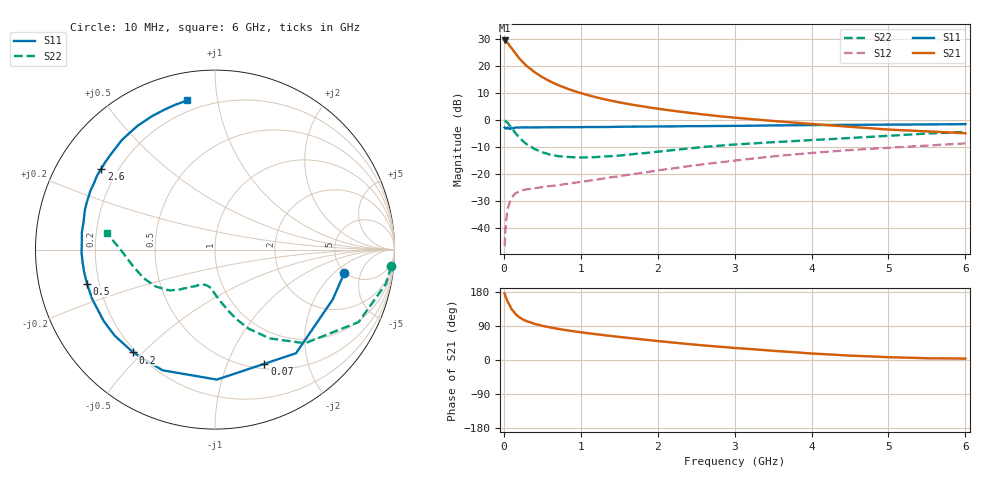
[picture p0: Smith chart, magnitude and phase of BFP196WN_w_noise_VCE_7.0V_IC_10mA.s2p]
! Infineon Technologies  Discrete & RF Semiconductors
! BFP196WN
! VCE =  7.0 V,  IC =  10 mA
! Common Emitter S-Parameters:  Jan 2017
# GHz  S  MA  R  50
!  f  S11  S21  S12  S22
! GHz  MAG  ANG  MAG  ANG  MAG  ANG  MAG  ANG
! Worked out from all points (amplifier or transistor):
!   77 points, 10 MHz to 6 GHz, reference 50 ohm
!   highest |S21| = 29.6 dB at 10 MHz (marker M1)
!   |S21| within 3 dB of that: start of sweep to 104.4 MHz
!   unconditionally stable (mu >= 1): 1.152 GHz to 2.62 GHz
!   at 130 MHz: K = 0.19, MSG = 26.7 dB, |S12| = -27.8 dB
!   at 2.2 GHz: K = 1.05, MAG = 9.3 dB, |S12| = -17.9 dB
!   at 6 GHz: K = 0.86, MSG = 1.9 dB, |S12| = -8.6 dB
!   lowest NFmin = 0.92 dB at 450 MHz
!   S11 on the Smith chart (normalised r, x): 10 MHz: 4.84, -2.75; 70 MHz: 0.56, -1.37; 200 MHz: 0.19, -0.47; 500 MHz: 0.15, -0.13; 2.6 GHz: 0.14, +0.31; 6 GHz: 0.14, +0.82
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0.01  0.7318 -10.4  30.22 175.3  0.0046 82.3  0.9866 -5.4
0.02  0.7123 -23.0  29.2 168.8  0.009 79.4  0.9713 -11.3
0.05  0.733 -52.0  27.3 153.5  0.0229 64.4  0.8962 -26.8
0.07  0.6931 -66.6  24.78 146.8  0.028 57.7  0.8166 -33.5
0.1  0.7243 -89.2  21.82 134.2  0.0362 51.4  0.7239 -46.1
0.15  0.7333 -113.5  17.44 121.6  0.044 41.7  0.5796 -58.5
0.2  0.7323 -128.5  14.11 113.0  0.0472 37.0  0.4781 -67.0
0.25  0.7364 -139.4  11.79 106.8  0.0504 34.5  0.4086 -72.6
0.3  0.7369 -147.2  10.08 102.2  0.0522 33.0  0.3553 -77.1
0.4  0.7374 -157.9  7.771 95.2  0.0549 33.1  0.2921 -83.8
0.5  0.7381 -165.1  6.288 90.2  0.0574 34.1  0.2541 -89.0
0.6  0.7401 -170.5  5.274 86.1  0.06 35.9  0.2305 -92.9
0.7  0.7411 -174.8  4.529 82.4  0.0621 38.5  0.2159 -96.0
0.9  0.7428 178.0  3.533 76.0  0.0684 42.2  0.2059 -101.9
1.1  0.7479 172.8  2.904 70.6  0.0753 46.7  0.2046 -106.8
1.5  0.7554 164.2  2.146 60.9  0.0914 52.7  0.2208 -115.8
2.1  0.768 153.0  1.567 48.1  0.1224 58.0  0.2697 -127.2
2.6  0.7775 144.5  1.276 38.4  0.1527 59.3  0.3192 -135.2
3.1  0.7878 136.5  1.084 30.4  0.185 58.4  0.3612 -142.7
4.1  0.8141 120.8  0.833 16.1  0.2532 52.7  0.4354 -160.7
5.1  0.8301 109.0  0.66 6.9  0.314 45.0  0.5244 -179.7
6  0.8454 100.5  0.573 3.7  0.372 38.1  0.6069 171.1
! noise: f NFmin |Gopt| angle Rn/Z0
0.45  0.92  0.37  146  0.05
0.9  1.09  0.52  167  0.05
1.9  2.29  0.71  206  0.13
2.4  3.04  0.72  213  0.24
